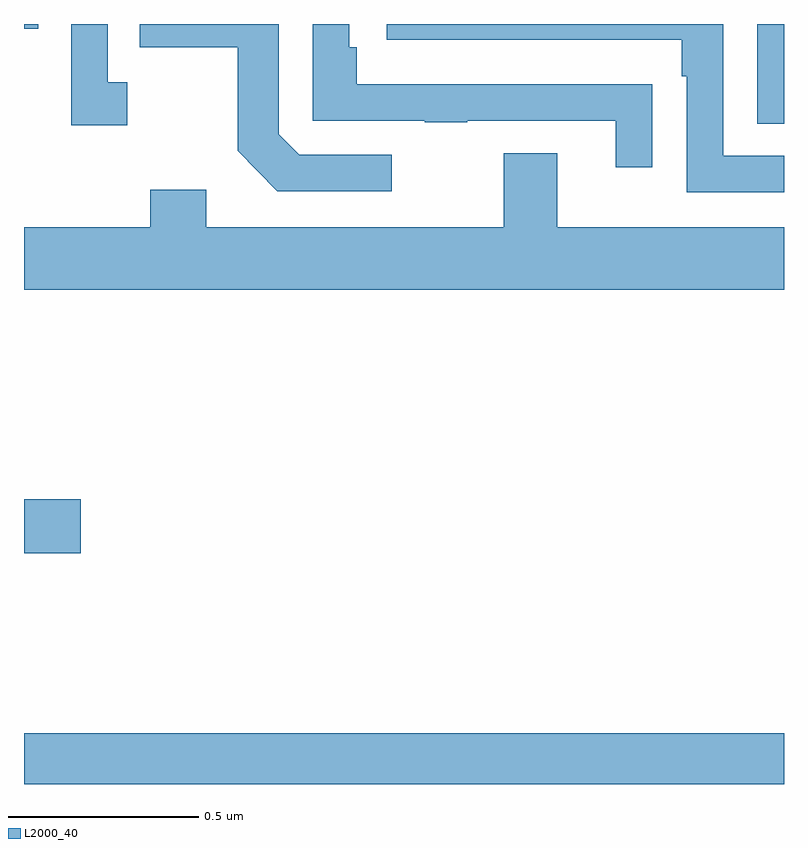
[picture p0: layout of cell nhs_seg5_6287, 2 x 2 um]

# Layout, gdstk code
import gdstk
lib = gdstk.Library(unit=1e-6, precision=1e-09)
def R(c, l, rs):  # rectangles x0, y0, x1, y1
    for r in rs: c.add(gdstk.rectangle(r[:2], r[2:], *l))
def P(c, l, *ps):  # polygons
    for p in ps: c.add(gdstk.Polygon(p, *l))
L2000_40 = (2000, 40)

nhs_seg5_6287 = lib.new_cell('nhs_seg5_6287')
R(nhs_seg5_6287, L2000_40, [(194,848.799,196,848.932), (194,849.406,194.149,849.548), (195.93,850.537,196,850.799), (194,850.787,194.038,850.799)])
P(nhs_seg5_6287, L2000_40, [(195.653,850.64),(195.551,850.64),(195.551,850.641),(194.876,850.641),(194.876,850.738),(194.856,850.738),(194.856,850.799),(194.76,850.799),(194.76,850.545),(195.055,850.545),(195.055,850.54),(195.167,850.54),(195.167,850.545),(195.557,850.545),(195.557,850.422),(195.653,850.422)],
  [(194.272,850.646),(194.22,850.646),(194.22,850.799),(194.124,850.799),(194.124,850.533),(194.272,850.533)],
  [(196,850.452),(195.84,850.452),(195.84,850.799),(194.955,850.799),(194.955,850.758),(195.731,850.758),(195.731,850.661),(195.744,850.661),(195.744,850.356),(196,850.356)],
  [(194.968,850.455),(194.724,850.455),(194.67,850.509),(194.67,850.799),(194.305,850.799),(194.305,850.738),(194.562,850.738),(194.562,850.465),(194.667,850.359),(194.968,850.359)],
  [(196,850.264),(195.403,850.264),(195.403,850.459),(195.263,850.459),(195.263,850.264),(194.479,850.264),(194.479,850.363),(194.332,850.363),(194.332,850.264),(194,850.264),(194,850.1),(196,850.1)])

lib.write_gds('nhs_seg5_6287.gds')
